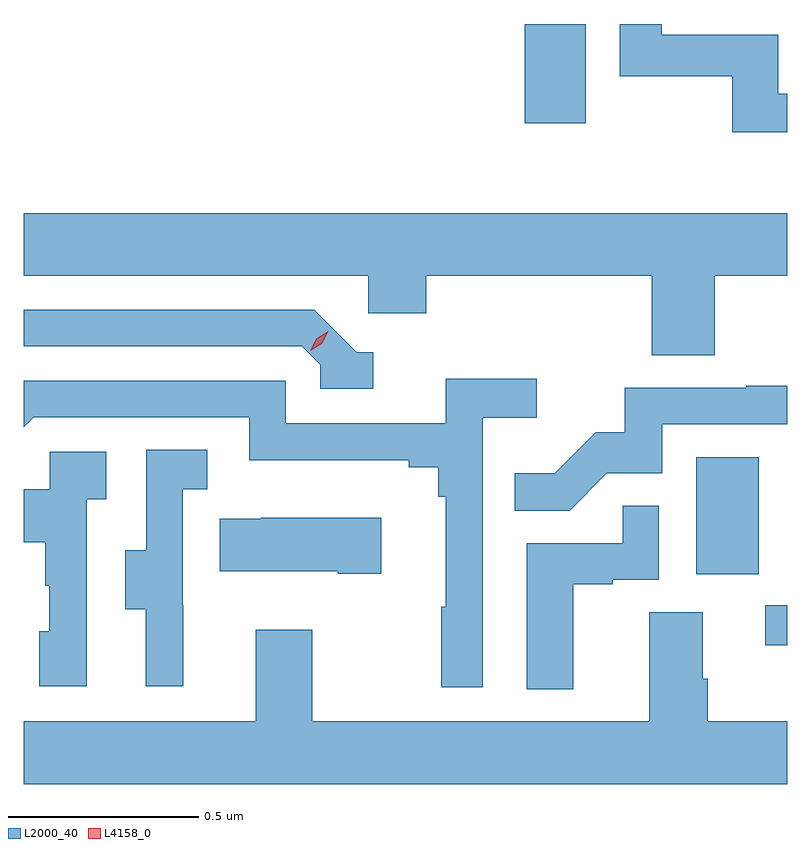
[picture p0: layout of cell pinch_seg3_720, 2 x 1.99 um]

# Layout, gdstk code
import gdstk
lib = gdstk.Library(unit=1e-6, precision=1e-09)
def R(c, l, rs):  # rectangles x0, y0, x1, y1
    for r in rs: c.add(gdstk.rectangle(r[:2], r[2:], *l))
def P(c, l, *ps):  # polygons
    for p in ps: c.add(gdstk.Polygon(p, *l))
L2000_40 = (2000, 40)
L4158_0 = (4158, 0)

pinch_seg3_720 = lib.new_cell('pinch_seg3_720')
R(pinch_seg3_720, L2000_40, [(1109.043,673.308,1109.1,673.413), (1108.862,673.494,1109.026,673.801), (1108.412,674.676,1108.573,674.936)])
P(pinch_seg3_720, L2000_40, [(1109.1,674.753),(1109.077,674.753),(1109.077,674.908),(1108.772,674.908),(1108.772,674.936),(1108.662,674.936),(1108.662,674.799),(1108.956,674.799),(1108.956,674.652),(1109.1,674.652)],
  [(1108.91,674.276),(1109.1,674.276),(1109.1,674.44),(1107.1,674.44),(1107.1,674.276),(1108.002,674.276),(1108.002,674.178),(1108.154,674.178),(1108.154,674.276),(1108.745,674.276),(1108.745,674.068),(1108.91,674.068)],
  [(1108.015,674.076),(1107.972,674.076),(1107.861,674.187),(1107.1,674.187),(1107.1,674.091),(1107.828,674.091),(1107.876,674.043),(1107.876,673.98),(1108.015,673.98)],
  [(1108.302,673.904),(1108.444,673.904),(1108.444,674.006),(1108.205,674.006),(1108.205,673.89),(1107.786,673.89),(1107.786,674.001),(1107.1,674.001),(1107.1,673.879),(1107.126,673.905),(1107.69,673.905),(1107.69,673.793),(1108.109,673.793),(1108.109,673.774),(1108.186,673.774),(1108.186,673.697),(1108.205,673.697),(1108.205,673.409),(1108.194,673.409),(1108.194,673.197),(1108.302,673.197)],
  [(1108.628,673.758),(1108.773,673.758),(1108.773,673.887),(1109.1,673.887),(1109.1,673.988),(1108.993,673.988),(1108.993,673.983),(1108.675,673.983),(1108.675,673.866),(1108.598,673.866),(1108.491,673.759),(1108.387,673.759),(1108.387,673.66),(1108.53,673.66)],
  [(1107.518,673.413),(1107.516,673.413),(1107.516,673.717),(1107.58,673.717),(1107.58,673.82),(1107.42,673.82),(1107.42,673.557),(1107.365,673.557),(1107.365,673.402),(1107.419,673.402),(1107.419,673.2),(1107.518,673.2)],
  [(1107.264,673.691),(1107.316,673.691),(1107.316,673.815),(1107.168,673.815),(1107.168,673.717),(1107.1,673.717),(1107.1,673.577),(1107.156,673.577),(1107.156,673.463),(1107.166,673.463),(1107.166,673.344),(1107.14,673.344),(1107.14,673.2),(1107.264,673.2)],
  [(1108.54,673.467),(1108.643,673.467),(1108.643,673.479),(1108.764,673.479),(1108.764,673.673),(1108.669,673.673),(1108.669,673.575),(1108.418,673.575),(1108.418,673.193),(1108.54,673.193)],
  [(1108.036,673.642),(1107.721,673.642),(1107.721,673.639),(1107.613,673.639),(1107.613,673.502),(1107.923,673.502),(1107.923,673.495),(1108.036,673.495)],
  [(1109.1,673.108),(1108.892,673.108),(1108.892,673.22),(1108.879,673.22),(1108.879,673.394),(1108.739,673.394),(1108.739,673.108),(1107.855,673.108),(1107.855,673.348),(1107.707,673.348),(1107.707,673.108),(1107.1,673.108),(1107.1,672.944),(1109.1,672.944)])
P(pinch_seg3_720, L4158_0, [(1107.85,674.079),(1107.85,674.079),(1107.866,674.111),(1107.897,674.131),(1107.897,674.131),(1107.897,674.131),(1107.881,674.098),(1107.85,674.079)])

lib.write_gds('pinch_seg3_720.gds')
